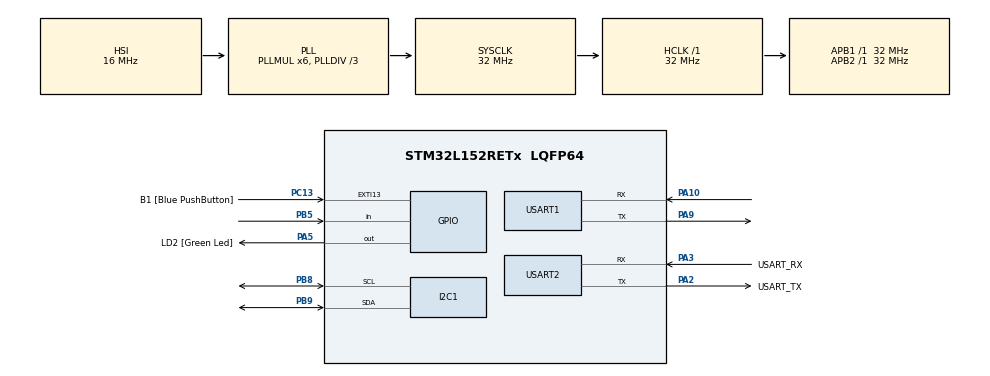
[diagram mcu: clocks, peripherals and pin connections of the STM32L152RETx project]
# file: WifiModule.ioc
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Mcu.Family=STM32L1
RCC.MSI_VALUE=2097000
PC15-OSC32_OUT.Mode=LSE-External-Oscillator
PH0-OSC_IN.Signal=RCC_OSC_IN
PA10.Mode=Asynchronous
PA14.GPIO_Label=TCK
PC14-OSC32_IN.Signal=RCC_OSC32_IN
NVIC.USART2_IRQn=true\:0\:0\:false\:false\:true\:true\:true
RCC.SYSCLKSource=RCC_SYSCLKSOURCE_PLLCLK
ProjectManager.StackSize=0x400
PA13.Signal=SYS_JTMS-SWDIO
PA3.Mode=Asynchronous
PA9.Mode=Asynchronous
RCC.PLLDIV=RCC_PLL_DIV3
ProjectManager.TargetToolchain=STM32CubeIDE
RCC.HCLKFreq_Value=32000000
PC13-WKUP2.GPIO_Label=B1 [Blue PushButton]
PB9.Mode=I2C
RCC.APB2TimFreq_Value=32000000
PA9.Signal=USART1_TX
PC15-OSC32_OUT.Signal=RCC_OSC32_OUT
RCC.AHBFreq_Value=32000000
PH0-OSC_IN.Mode=HSE-External-Clock-Source
PA5.Signal=GPIO_Output
RCC.HSE_VALUE=8000000
PC13-WKUP2.Signal=GPXTI13
board=NUCLEO-L152RE
RCC.VCOOutputFreq_Value=96000000
RCC.PLLMUL=RCC_PLL_MUL6
RCC.APB2Freq_Value=32000000
PC14-OSC32_IN.Mode=LSE-External-Oscillator
RCC.RTCClockSelectionVirtual=RCC_RTCCLKSOURCE_LSE
PA14.Mode=Serial_Wire
PH1-OSC_OUT.Signal=RCC_OSC_OUT
PA13.Mode=Serial_Wire
Mcu.Name=STM32L152RETx
PA2.Signal=USART2_TX
PA13.GPIO_Label=TMS
RCC.48MHZClocksFreq_Value=48000000
PB3.Signal=SYS_JTDO-TRACESWO
RCC.SYSCLKFreq_VALUE=32000000
Mcu.Package=LQFP64
PB5.Signal=GPIO_Input
PB9.Signal=I2C1_SDA
PA5.GPIO_Label=LD2 [Green Led]
USART2.VirtualMode=VM_ASYNC
RCC.USBOutput=48000000
USART1.VirtualMode=VM_ASYNC
PA2.GPIO_Label=USART_TX
PA10.Signal=USART1_RX
PA14.Signal=SYS_JTCK-SWCLK
ProjectManager.HeapSize=0x200
RCC.HSI_VALUE=16000000
NVIC.PriorityGroup=NVIC_PRIORITYGROUP_0
PB8.Mode=I2C
RCC.APB1TimFreq_Value=32000000
PA2.Mode=Asynchronous
PB8.Signal=I2C1_SCL
NVIC.USART1_IRQn=true\:0\:0\:false\:false\:true\:true\:true
RCC.APB1Freq_Value=32000000
PA3.GPIO_Label=USART_RX
PA3.Signal=USART2_RX
PB3.GPIO_Label=SWO

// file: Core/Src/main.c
/* USER CODE BEGIN Header */
/**
  ******************************************************************************
  * @file           : main.c
  * @brief          : Main program body
  ******************************************************************************
  * @attention
  *
  * <h2><center>&copy; Copyright (c) 2021 STMicroelectronics.
  * All rights reserved.</center></h2>
  *
  * This software component is licensed by ST under BSD 3-Clause license,
  * the "License"; You may not use this file except in compliance with the
  * License. You may obtain a copy of the License at:
  *                        opensource.org/licenses/BSD-3-Clause
  *
  ******************************************************************************
  */
/* USER CODE END Header */
#include "main.h"
#include "i2c.h"
#include "usart.h"
#include "gpio.h"

/* USER CODE BEGIN Includes */
#include <string.h>
#include "lib_lcd.h"
/* USER CODE END Includes */

/* USER CODE BEGIN PTD */
static rgb_lcd lcdData;
/* USER CODE END PTD */

void SystemClock_Config(void);

/* USER CODE BEGIN 0 */
uint8_t rx_buffer[1];
char input_string[40];
char input_raw[100];
char old_input_string[40];
char old_input_string2[40];
char input_buffer[40];
int input_i = 0;
int flag=0; input_complete=0;

void HAL_UART_RxCpltCallback(UART_HandleTypeDef *huart){
	input_raw[input_i] = (char*)rx_buffer[0];

	input_buffer[input_i] = (char*)rx_buffer[0];
	if(input_buffer[input_i] == '\n' ){
		input_complete = 1;//activa el flag 2
		input_i = 0;//reinicia el indice del input string

		for(int i = 0; i < 40; i++){
			input_string[i] = input_buffer[i];
			input_buffer[i]=0;//reinicia el input buffer
		}
		HAL_UART_Receive_IT(&huart1, rx_buffer, 1);
		return 0;
	}
	input_i++;
	//si el buffer no trae ni \n ni \r entonces guarda el elemento del  buffer en el indice de input string
	HAL_UART_Receive_IT(&huart1, rx_buffer, 1);
}
void wifi_init(){
	  /*if(input_string == "WIFI GOT IP\r\n"){
		  clearlcd();
		  lcd_position(&hi2c1,0,0);//cositas
		  lcd_print(&hi2c1, "wifi state:");
		  lcd_position(&hi2c1,0,1);//cositas
		  lcd_print(&hi2c1, "connected");
		  reglagecouleur(0,255,0);
	  }*/

}
void print_lcd2(char line_1[16], char line_2[16], int R, int G, int B){
	  clearlcd();
	  lcd_position(&hi2c1,0,0);//cositas
	  lcd_print(&hi2c1, line_1);
	  lcd_position(&hi2c1,0,1);//cositas
	  lcd_print(&hi2c1, line_2);
	  reglagecouleur(R, G, B);

}
void show_plate(char *input, char *commande){
	//find :
	int start, start2, length, new = 0; ;
	char string[40];
	length = strlen((char*)input);
	for(int i = 0; i < length; i++){
		if(input[i] == ':')
			start = i;
		if(input[i] == ';')
			start2 = i;
	}

	for(int i = start + 1; i < length - 12; i++){

		string[new] = input[i];
		new++;
	}
	new = 0;
	for(int i = start2 + 1; i < length - 10; i++){
		commande[new] = input[i];
		new++;
	}
	lcd_print(&hi2c1, string);

}

/* USER CODE END 0 */

int main(void)
{
  /* USER CODE BEGIN 1 */
	//int buffer_lenght = 40;
	char commande[2];
	uint8_t cmd[40], request[40], screen_text[40];

  /* USER CODE END 1 */

  /* MCU Configuration--------------------------------------------------------*/

  /* Reset of all peripherals, Initializes the Flash interface and the Systick. */
  HAL_Init();

  /* Configure the system clock */
  SystemClock_Config();

  /* Initialize all configured peripherals */
  MX_GPIO_Init();
  MX_I2C1_Init();
  MX_USART2_UART_Init();
  MX_USART1_UART_Init();
  /* USER CODE BEGIN 2 */
  HAL_UART_Receive_IT(&huart1, rx_buffer, 1);
  lcd_init(&hi2c1, &lcdData); // initialise le lcd
  ATCommand("ATE1");

  print_lcd2("system:", "Starting", 0,0,255);
  // --------------- wifi init ---------------
  //ATCommand("AT+RST");
  print_lcd2("WiFi state:", "connecting", 0, 255, 255);
  HAL_Delay(3000);
  //input_string;
  print_lcd2("WiFi state:", "connected", 0, 255, 0);
  print_lcd2("Server state:", "starting", 0, 255, 255);
  ATCommand("AT+CWMODE=3");
  ATCommand("AT+CIPMUX=1");
  ATCommand("AT+CIPSERVER=1");
  ATCommand("AT+CIPSTATUS");

  print_lcd2("Server state:", "started", 0, 255, 255);

  print_lcd2("Waiting for new", "commandes", 0, 255, 0);
  __HAL_UART_FLUSH_DRREGISTER(&huart1);
  commande[0] = '0';
  commande[1] = '0';

  ATCommand("AT+CIPSERVER=0");
  ATCommand("AT+CIPMUX=0");
  ATCommand("AT+CIPSTART=\"TCP\",\"debian\",8000");
  sprintf((char*)request,
		  "GET /api/%c%c HTTP/1.1\r\nHost:debian",
		  commande[0],
		  commande[1]
		  );
  sprintf((char*)cmd,
		  "AT+CIPSEND=%i",
		  strlen((char*)request)
		  );

  ATCommand(cmd);
  ATCommand(request);
  ATCommand("AT+CIPCLOSE");
  ATCommand("AT+CIPMUX=1");
  ATCommand("AT+CIPSERVER=1");
  __HAL_UART_FLUSH_DRREGISTER(&huart1);
  /* USER CODE END 2 */

  /* Infinite loop */
  /* USER CODE BEGIN WHILE */
  while (1)
  {

	  //HAL_Delay(2000);
	  //while(!input_complete);
	  if(input_complete){
		  strcpy((char*)screen_text, input_buffer);
		  clearlcd();
		  if(input_string == "waiting--------;00")
			  reglagecouleur(0, 255, 0);
		  else{
		  reglagecouleur(255, 0, 0);}
		  lcd_position(&hi2c1,0,0);//cositas
		  show_plate(input_string, commande);
		  lcd_position(&hi2c1,0,1);//cositas
		  lcd_print(&hi2c1, commande);
		  __HAL_UART_FLUSH_DRREGISTER(&huart1);
		  input_complete = 0;
	  }
	  if(!HAL_GPIO_ReadPin (GPIOB, GPIO_PIN_5)){
		  ATCommand("AT+CIPSERVER=0");
		  ATCommand("AT+CIPMUX=0");
		  ATCommand("AT+CIPSTART=\"TCP\",\"debian\",8000");
		  //strcpy((char*)request, "GET /api/67 HTTP/1.1\r\nHost:debian");
		  sprintf((char*)request,
				  "GET /api/%c%c HTTP/1.1\r\nHost:debian",
				  commande[0],
				  commande[1]
				  );
		  sprintf((char*)cmd,
				  "AT+CIPSEND=%i",
				  strlen((char*)request)
				  );

		  ATCommand(cmd);
		  ATCommand(request);
		  ATCommand("AT+CIPCLOSE");
		  ATCommand("AT+CIPMUX=1");
		  ATCommand("AT+CIPSERVER=1");
		  __HAL_UART_FLUSH_DRREGISTER(&huart1);
		  }
	  //print_lcd2("Waiting for new", "commandes", 0, 255, 0);

	  /*

	  if(input_complete){
		  strcpy((char*)screen_text, input_string);
		  clearlcd();
		  lcd_position(&hi2c1,0,0);//cositas
		  lcd_print(&hi2c1, screen_text);
	  }
	  HAL_Delay(50);*/
	  //HAL_Delay(7000);

    /* USER CODE END WHILE */

  }
}

void SystemClock_Config(void)
{
  RCC_OscInitTypeDef RCC_OscInitStruct = {0};
  RCC_ClkInitTypeDef RCC_ClkInitStruct = {0};

  /** Configure the main internal regulator output voltage
  */
  __HAL_PWR_VOLTAGESCALING_CONFIG(PWR_REGULATOR_VOLTAGE_SCALE1);
  /** Initializes the RCC Oscillators according to the specified parameters
  * in the RCC_OscInitTypeDef structure.
  */
  RCC_OscInitStruct.OscillatorType = RCC_OSCILLATORTYPE_HSI;
  RCC_OscInitStruct.HSIState = RCC_HSI_ON;
  RCC_OscInitStruct.HSICalibrationValue = RCC_HSICALIBRATION_DEFAULT;
  RCC_OscInitStruct.PLL.PLLState = RCC_PLL_ON;
  RCC_OscInitStruct.PLL.PLLSource = RCC_PLLSOURCE_HSI;
  RCC_OscInitStruct.PLL.PLLMUL = RCC_PLL_MUL6;
  RCC_OscInitStruct.PLL.PLLDIV = RCC_PLL_DIV3;
  if (HAL_RCC_OscConfig(&RCC_OscInitStruct) != HAL_OK)
  {
    Error_Handler();
  }
  /** Initializes the CPU, AHB and APB buses clocks
  */
  RCC_ClkInitStruct.ClockType = RCC_CLOCKTYPE_HCLK|RCC_CLOCKTYPE_SYSCLK
                              |RCC_CLOCKTYPE_PCLK1|RCC_CLOCKTYPE_PCLK2;
  RCC_ClkInitStruct.SYSCLKSource = RCC_SYSCLKSOURCE_PLLCLK;
  RCC_ClkInitStruct.AHBCLKDivider = RCC_SYSCLK_DIV1;
  RCC_ClkInitStruct.APB1CLKDivider = RCC_HCLK_DIV1;
  RCC_ClkInitStruct.APB2CLKDivider = RCC_HCLK_DIV1;

  if (HAL_RCC_ClockConfig(&RCC_ClkInitStruct, FLASH_LATENCY_1) != HAL_OK)
  {
    Error_Handler();
  }
}

/* USER CODE BEGIN 4 */
void ATCommand(uint8_t cmd[40]){
	//uint8_t cmd_;
	//strcpy((char*)cmd, command);
	HAL_UART_Transmit(&huart1, cmd, strlen((char*)cmd), 20000);
	HAL_UART_Transmit(&huart1, "\r\n", 2, 20000);
	HAL_Delay(500);
}
/* USER CODE END 4 */

void Error_Handler(void)
{
  __disable_irq();
  while (1)
  {
  }
}

/************************ (C) COPYRIGHT STMicroelectronics *****END OF FILE****/
